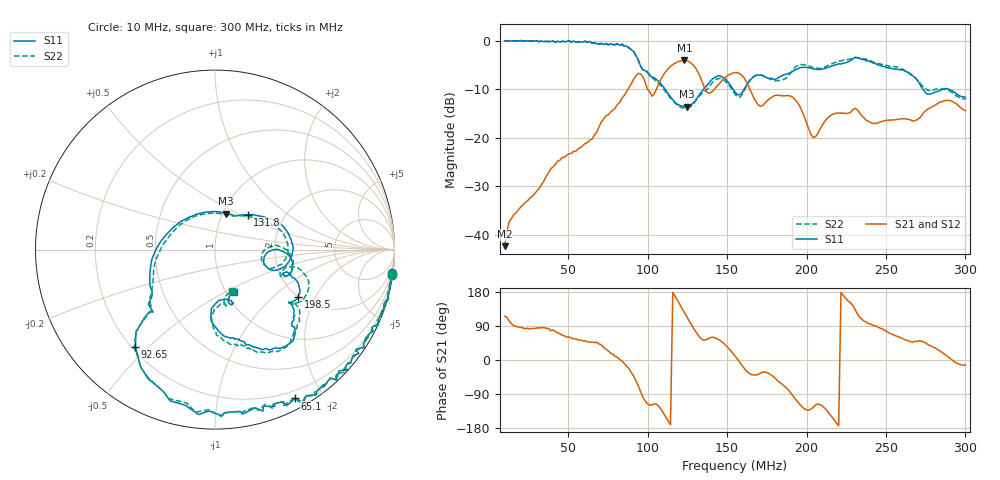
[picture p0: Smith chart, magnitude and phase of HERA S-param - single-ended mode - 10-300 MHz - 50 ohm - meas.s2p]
#  HZ  S  RI  R  50.0
! Rohde & Schwarz ZVL3 2Ports - Version 3.31 - 1303.6509k03 SN: 101102
! Date: 2016-11-08 16:46:45
! Data & Calibration Information:
! Trc1:S11(TOSM) Trc2:S21(TOSM) Trc3:S12(TOSM) Trc4:S22(TOSM)
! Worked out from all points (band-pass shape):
!   201 points, 10 MHz to 300 MHz, reference 50 ohm
!   highest |S21| = -4.06 dB at 123.1 MHz (marker M1); lowest = -42.3 dB at 10 MHz (marker M2)
!   |S21| within 3 dB of the highest: 110 MHz to 132.5 MHz (22.56 MHz wide, 18.6 % of centre); 151 MHz to 159 MHz (8.012 MHz wide, 5.17 % of centre)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
!   lowest |S11| = -13.6 dB at 124.5 MHz (marker M3), VSWR 1.53, Z = 51.9 + j21.8 ohm
!   |S11| at or under -10 dB: 111 MHz to 135.3 MHz (24.32 MHz wide, 19.8 % of centre); 273.3 MHz to 286 MHz (12.7 MHz wide, 4.54 % of centre); 289.5 MHz to end of sweep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
!   |S22| runs from -13.9 to 0.0 dB; largest |S21 - S12| = 0.01
!   S11 on the Smith chart (normalised r, x): 10 MHz: 0, -15; 65.1 MHz: 0.11, -1.67; 92.65 MHz: 0.21, -0.46; 131.8 MHz: 1.31, +0.55; 198.5 MHz: 1.99, -1.47; 300 MHz: 1.09, -0.56
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1e7  0.9878 -0.1305  -0.00332 0.00692  -0.00335 0.00694  0.987 -0.1421
1.58e7  0.9727 -0.2218  -0.000305 0.0162  -0.000279 0.0161  0.9741 -0.2195
5.93e7  0.5668 -0.7914  0.0534 0.0639  0.0546 0.0625  0.5533 -0.7946
6.51e7  0.4471 -0.8294  0.0661 0.0712  0.0655 0.0711  0.4398 -0.829
8.395e7  -0.0915 -0.9189  0.2563 -0.0143  0.2556 -0.0167  -0.1077 -0.9057
9.265e7  -0.4442 -0.5414  0.2516 -0.352  0.2507 -0.3509  -0.4501 -0.5344
9.845e7  -0.3449 -0.348  -0.1155 -0.3552  -0.1207 -0.3528  -0.3516 -0.3348
1.0715e8  -0.3613 -0.1128  -0.1955 -0.3069  -0.2 -0.3036  -0.342 -0.1145
1.1585e8  -0.192 0.1561  -0.5678 0.016  -0.5667 0.0176  -0.2022 0.1324
1.231e8  0.0285 0.2094  -0.3632 0.5106  -0.3659 0.5121  0.0145 0.2032
1.2455e8  0.0619 0.2007  -0.2616 0.5619  -0.2641 0.5612  0.046 0.1965
1.318e8  0.1811 0.1949  0.1952 0.4276  0.1941 0.4277  0.1783 0.1883
1.3905e8  0.3401 0.1593  0.1508 0.2442  0.1518 0.2431  0.3089 0.1441
1.55e8  0.2821 -0.0905  0.4611 0.0885  0.4618 0.0856  0.2702 -0.0813
1.637e8  0.3765 -0.00935  0.2754 -0.1906  0.2753 -0.1917  0.3789 0.0105
1.985e8  0.4622 -0.2645  -0.1046 -0.1309  -0.1031 -0.1302  0.4949 -0.2726
2.043e8  0.4163 -0.2955  -0.0572 -0.0826  -0.0566 -0.0831  0.43 -0.3028
2.304e8  0.434 -0.5101  -0.1417 0.1431  -0.1397 0.1449  0.4146 -0.5318
2.5215e8  0.1329 -0.5037  0.0494 0.1438  0.0466 0.1439  0.1348 -0.5251
2.6955e8  -0.0222 -0.3962  0.1009 0.1158  0.0993 0.1155  -0.0182 -0.3929
2.884e8  0.0938 -0.3078  0.2388 0.0442  0.2395 0.0446  0.055 -0.3086
3e8  0.1076 -0.2378  0.1846 -0.0447  0.1841 -0.0441  0.0952 -0.2316
